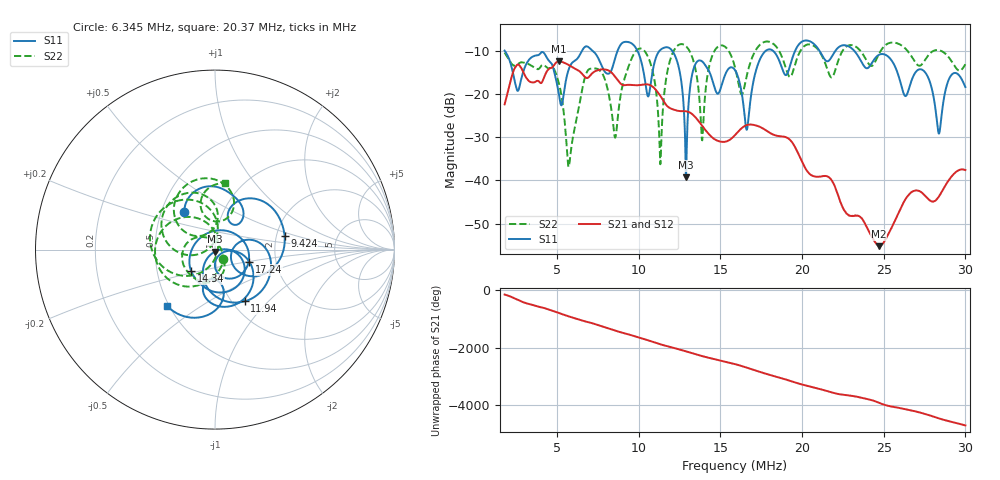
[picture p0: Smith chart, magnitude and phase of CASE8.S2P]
!Agilent Technologies,E5061B,MY49101568,A.02.00
!Date: Wed Mar 01 15:55:13 2023
!Data & Calibration Information:
!Freq	S11:SOLT2(OFF)	S21:SOLT2(OFF)	S12:SOLT2(OFF)	S22:SOLT2(OFF)
# Hz S dB R 50
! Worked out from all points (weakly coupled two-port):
!   1155 points, 1.8 MHz to 30 MHz, reference 50 ohm
!   highest |S21| = -12.49 dB at 5.123 MHz (marker M1); lowest = -55.2 dB at 24.7 MHz (marker M2)
!   lowest |S11| = -39.3 dB at 12.89 MHz (marker M3), VSWR 1.02, Z = 50.1 - j1.09 ohm
!   |S11| at or under -10 dB: 1.8 MHz to 6.543 MHz (4.743 MHz wide, 114 % of centre); 12.05 MHz to 17.8 MHz (5.751 MHz wide, 38.5 % of centre); 23.19 MHz to end of sweep (the widest 3 of 7)
!   |S22| runs from -36.9 to -7.9 dB; largest |S21 - S12| = 0.0032
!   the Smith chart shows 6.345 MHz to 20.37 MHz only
!   S11 on the Smith chart (normalised r, x): 6.345 MHz: 0.65, +0.29; 9.424 MHz: 2.22, +0.39; 11.94 MHz: 1.14, -0.74; 14.34 MHz: 0.75, -0.19; 17.24 MHz: 1.46, -0.21; 20.37 MHz: 0.49, -0.37
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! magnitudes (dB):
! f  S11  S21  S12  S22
! 1.8 MHz  -10.0  -22.4  -22.4  -10.5
! 5.123 MHz  -20.1  -12.5  -12.5  -17.6
! 5.734 MHz  -14.2  -13.3  -13.3  -36.8
! 6.345 MHz  -11.4  -14.7  -14.6  -23.1
! 6.516 MHz  -10.2  -15.3  -15.2  -19.5
! 8.569 MHz  -11.7  -16.1  -16.0  -30.1
! 9.424 MHz  -8.1  -17.9  -17.9  -13.3
! 10.52 MHz  -20.0  -17.8  -17.9  -11.0
! 11.21 MHz  -10.4  -19.8  -19.8  -25.4
! 11.94 MHz  -9.6  -23.3  -23.4  -12.0
! 12.89 MHz  -39.3  -24.0  -24.1  -9.0
! 13.87 MHz  -12.5  -27.3  -27.3  -30.5
! 14.34 MHz  -14.9  -29.5  -29.5  -13.3
! 15.9 MHz  -14.5  -29.5  -29.6  -13.9
! 16.61 MHz  -28.3  -27.2  -27.2  -16.0
! 17.24 MHz  -13.8  -27.4  -27.5  -9.5
! 20.37 MHz  -7.7  -38.1  -38.1  -8.6
! 20.62 MHz  -8.1  -38.9  -38.9  -8.7
! 24.7 MHz  -11.0  -55.2  -55.1  -10.9
! 25.31 MHz  -11.5  -52.2  -52.1  -8.3
! 28.36 MHz  -29.1  -43.8  -43.8  -9.9
! 30 MHz  -18.4  -37.6  -37.6  -13.2
